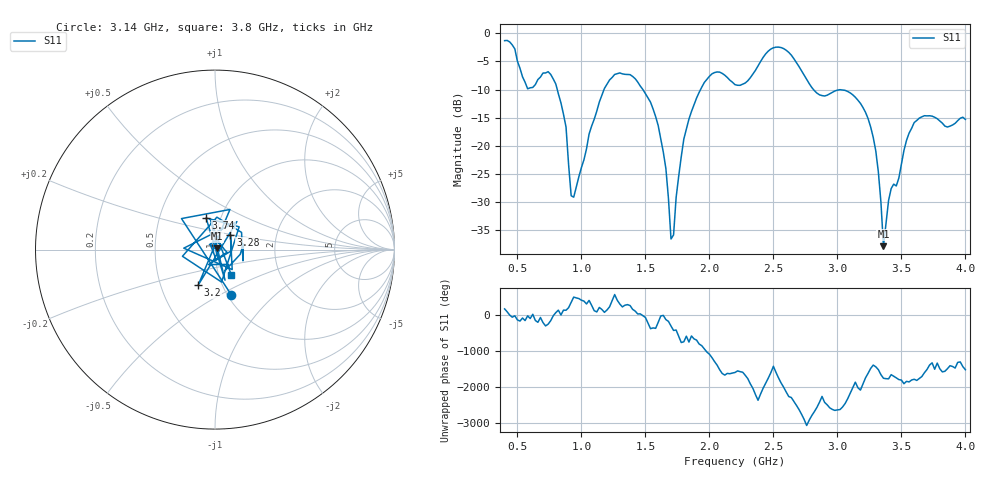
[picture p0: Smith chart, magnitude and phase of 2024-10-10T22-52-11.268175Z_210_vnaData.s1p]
! Created with skrf (http://scikit-rf.org).
# Hz S RI R 50.0
!freq ReS11 ImS11
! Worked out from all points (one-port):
!   181 points, 400 MHz to 4 GHz, reference 50 ohm
!   lowest |S11| = -37.9 dB at 3.36 GHz (marker M1), VSWR 1.03, Z = 51 + j0.805 ohm
!   |S11| at or under -10 dB: 811.4 MHz to 1.177 GHz (365.3 MHz wide, 36.7 % of centre); 1.48 GHz to 1.931 GHz (450.4 MHz wide, 26.4 % of centre); 2.813 GHz to end of sweep
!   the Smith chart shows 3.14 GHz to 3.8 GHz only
!   S11 on the Smith chart (normalised r, x): 3.14 GHz: 1.04, -0.57; 3.2 GHz: 0.77, -0.32; 3.28 GHz: 1.17, +0.19; 3.74 GHz: 0.85, +0.31; 3.8 GHz: 1.15, -0.33
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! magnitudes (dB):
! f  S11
! 400 MHz  -1.3
! 580 MHz  -9.9
! 760 MHz  -7.3
! 860 MHz  -14.4
! 940 MHz  -29.1
! 1.14 GHz  -12.2
! 1.3 GHz  -7.0
! 1.58 GHz  -14.8
! 1.66 GHz  -24.1
! 1.7 GHz  -36.6
! 1.76 GHz  -25.4
! 1.84 GHz  -15.3
! 1.96 GHz  -8.7
! 2.2 GHz  -9.1
! 2.5 GHz  -2.6
! 2.66 GHz  -4.5
! 2.86 GHz  -10.9
! 3.1 GHz  -10.6
! 3.14 GHz  -11.4
! 3.2 GHz  -13.2
! 3.28 GHz  -18.5
! 3.32 GHz  -24.7
! 3.36 GHz  -37.9
! 3.42 GHz  -27.6
! 3.56 GHz  -17.8
! 3.74 GHz  -14.7
! 3.8 GHz  -15.6
! 4 GHz  -15.3
